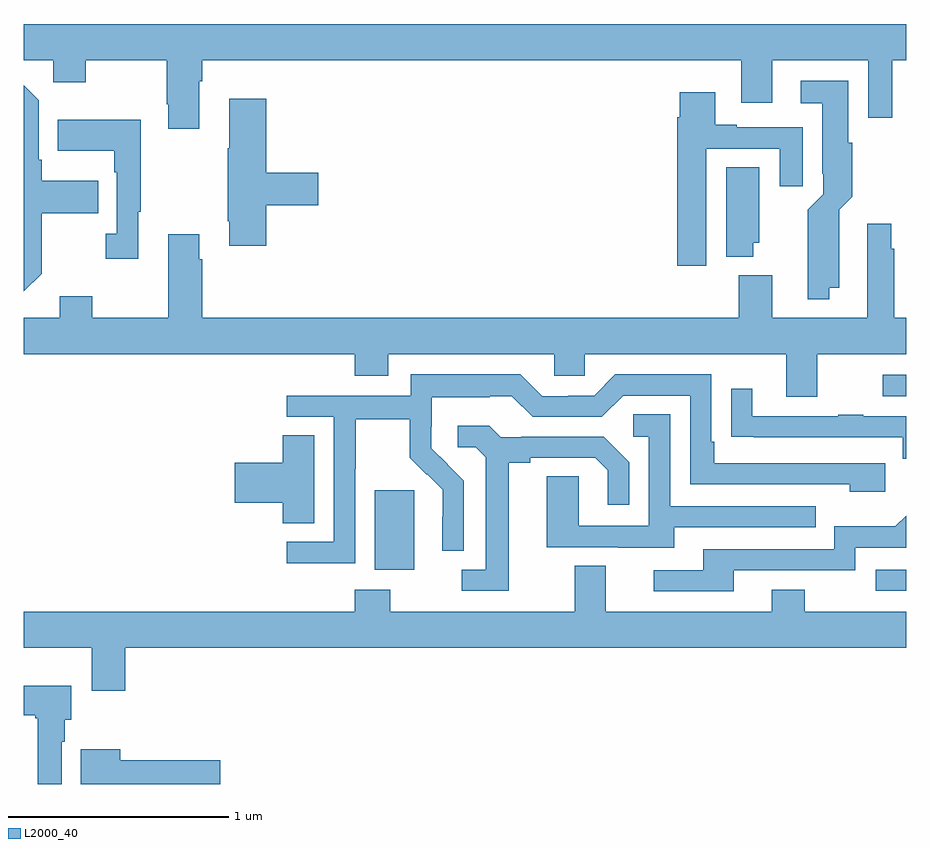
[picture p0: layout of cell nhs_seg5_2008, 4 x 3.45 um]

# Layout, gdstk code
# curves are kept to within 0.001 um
import gdstk
lib = gdstk.Library(unit=1e-6, precision=1e-09)
def R(c, l, rs):  # rectangles x0, y0, x1, y1
    for r in rs: c.add(gdstk.rectangle(r[:2], r[2:], *l))
def P(c, l, *ps):  # polygons
    for p in ps: c.add(gdstk.Polygon(p, *l))
L2000_40 = (2000, 40)

nhs_seg5_2008 = lib.new_cell('nhs_seg5_2008')
R(nhs_seg5_2008, L2000_40, [(232.863,867.675,233,867.771), (230.591,867.77,230.77,868.131), (232.893,868.557,233,868.653)])
P(nhs_seg5_2008, L2000_40, [(229.795,869.984),(229.808,869.984),(229.808,870.08),(232.253,870.08),(232.253,869.886),(232.393,869.886),(232.393,870.08),(232.827,870.08),(232.827,869.82),(232.936,869.82),(232.936,870.08),(233,870.08),(233,870.244),(229,870.244),(229,870.08),(229.134,870.08),(229.134,869.981),(229.281,869.981),(229.281,870.08),(229.648,870.08),(229.648,869.881),(229.655,869.881),(229.655,869.769),(229.795,869.769)],
  [(232.651,869.048),(232.696,869.048),(232.697,869.402),(232.756,869.461),(232.756,869.706),(232.738,869.706),(232.738,869.986),(232.521,869.986),(232.521,869.885),(232.619,869.885),(232.619,869.566),(232.623,869.566),(232.623,869.472),(232.553,869.402),(232.554,868.997),(232.651,868.997)],
  [(229.081,869.113),(229.081,869.386),(229.337,869.386),(229.337,869.533),(229.081,869.533),(229.081,869.629),(229.068,869.629),(229.068,869.898),(229,869.966),(229,869.032)],
  [(232.093,869.679),(232.427,869.679),(232.427,869.508),(232.531,869.508),(232.531,869.775),(232.231,869.775),(232.231,869.788),(232.135,869.788),(232.135,869.935),(231.974,869.935),(231.974,869.822),(231.962,869.822),(231.962,869.148),(232.093,869.148)],
  [(230.099,869.423),(230.335,869.423),(230.335,869.57),(230.099,869.57),(230.099,869.905),(229.931,869.905),(229.931,869.681),(229.924,869.681),(229.924,869.35),(229.931,869.35),(229.931,869.238),(230.099,869.238)],
  [(229.519,869.393),(229.531,869.393),(229.531,869.809),(229.153,869.809),(229.153,869.669),(229.41,869.669),(229.41,869.573),(229.422,869.573),(229.422,869.294),(229.371,869.294),(229.371,869.181),(229.519,869.181)],
  [(232.306,869.253),(232.333,869.253),(232.333,869.594),(232.184,869.594),(232.184,869.189),(232.306,869.189)],
  [(232.597,868.748),(233,868.748),(233,868.912),(232.946,868.912),(232.946,869.225),(232.933,869.225),(232.933,869.338),(232.823,869.338),(232.823,868.912),(232.393,868.912),(232.393,869.104),(232.241,869.104),(232.241,868.912),(229.808,868.912),(229.808,869.177),(229.795,869.177),(229.795,869.29),(229.655,869.29),(229.655,868.912),(229.311,868.912),(229.311,869.011),(229.163,869.011),(229.163,868.912),(229,868.912),(229,868.748),(230.501,868.748),(230.501,868.649),(230.653,868.649),(230.653,868.748),(231.405,868.748),(231.405,868.65),(231.543,868.65),(231.543,868.748),(232.457,868.748),(232.457,868.554),(232.597,868.554)],
  [(230.502,868.228),(230.505,868.228),(230.505,868.452),(230.749,868.452),(230.749,868.277),(230.826,868.2),(230.829,868.203),(230.9,868.133),(230.9,868.01),(230.898,868.01),(230.898,867.856),(230.994,867.856),(230.994,868.174),(230.848,868.322),(230.848,868.419),(230.85,868.419),(230.85,868.553),(231.113,868.553),(231.113,868.557),(231.213,868.557),(231.306,868.464),(231.621,868.464),(231.717,868.56),(232.02,868.56),(232.02,868.158),(232.745,868.158),(232.745,868.124),(232.906,868.124),(232.906,868.254),(232.129,868.254),(232.129,868.351),(232.116,868.351),(232.116,868.656),(231.681,868.656),(231.585,868.56),(231.467,868.56),(231.467,868.557),(231.351,868.557),(231.251,868.657),(230.754,868.657),(230.754,868.56),(230.193,868.56),(230.193,868.464),(230.406,868.464),(230.406,867.897),(230.193,867.897),(230.193,867.799),(230.502,867.799)],
  [(233,868.467),(232.805,868.467),(232.805,868.472),(232.693,868.472),(232.693,868.467),(232.303,868.467),(232.303,868.591),(232.207,868.591),(232.207,868.372),(232.309,868.372),(232.309,868.371),(232.984,868.371),(232.984,868.274),(233,868.274)],
  [(231.949,867.963),(232.589,867.963),(232.589,868.059),(231.93,868.059),(231.93,868.475),(231.762,868.475),(231.762,868.374),(231.834,868.374),(231.834,867.969),(231.516,867.969),(231.516,868.193),(231.371,868.193),(231.371,867.873),(231.695,867.873),(231.695,867.869),(231.949,867.869)],
  [(231.199,868.256),(231.295,868.256),(231.295,868.278),(231.59,868.278),(231.647,868.221),(231.647,868.065),(231.744,868.065),(231.744,868.258),(231.628,868.374),(231.256,868.374),(231.256,868.371),(231.162,868.371),(231.11,868.423),(230.967,868.423),(230.967,868.326),(231.048,868.326),(231.095,868.279),(231.095,867.771),(230.985,867.771),(230.985,867.675),(231.199,867.675)],
  [(230.317,868.379),(230.174,868.379),(230.174,868.256),(229.956,868.256),(229.956,868.073),(230.174,868.073),(230.174,867.982),(230.317,867.982)],
  [(232.219,867.768),(232.77,867.768),(232.77,867.87),(233,867.87),(233,868.016),(232.951,867.967),(232.674,867.967),(232.674,867.864),(232.079,867.864),(232.079,867.768),(231.855,867.768),(231.855,867.672),(232.219,867.672)],
  [(229.46,867.416),(233,867.416),(233,867.58),(232.539,867.58),(232.539,867.679),(232.391,867.679),(232.391,867.58),(231.637,867.58),(231.637,867.788),(231.497,867.788),(231.497,867.58),(230.661,867.58),(230.661,867.679),(230.501,867.679),(230.501,867.58),(229,867.58),(229,867.416),(229.307,867.416),(229.307,867.222),(229.46,867.222)],
  [(229.171,866.99),(229.186,866.99),(229.186,867.09),(229.216,867.09),(229.216,867.244),(229,867.244),(229,867.11),(229.051,867.11),(229.051,867.097),(229.064,867.097),(229.064,866.799),(229.171,866.799)],
  [(229.891,866.906),(229.438,866.906),(229.438,866.956),(229.259,866.956),(229.259,866.799),(229.891,866.799)])

lib.write_gds('nhs_seg5_2008.gds')
